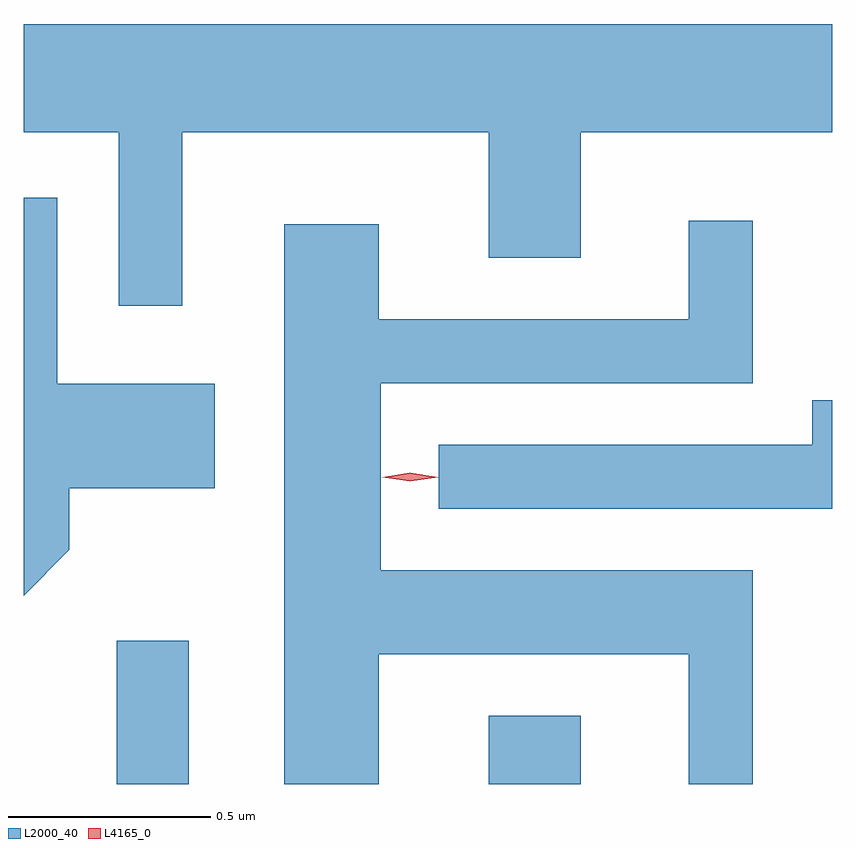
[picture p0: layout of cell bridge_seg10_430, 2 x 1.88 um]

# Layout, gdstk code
import gdstk
lib = gdstk.Library(unit=1e-6, precision=1e-09)
def R(c, l, rs):  # rectangles x0, y0, x1, y1
    for r in rs: c.add(gdstk.rectangle(r[:2], r[2:], *l))
def P(c, l, *ps):  # polygons
    for p in ps: c.add(gdstk.Polygon(p, *l))
L2000_40 = (2000, 40)
L4165_0 = (4165, 0)

bridge_seg10_430 = lib.new_cell('bridge_seg10_430')
R(bridge_seg10_430, L2000_40, [(1363.731,2101.205,1363.909,2101.559), (1364.651,2101.205,1364.879,2101.374)])
P(bridge_seg10_430, L2000_40, [(1363.894,2102.816),(1364.651,2102.816),(1364.651,2102.506),(1364.879,2102.506),(1364.879,2102.816),(1365.501,2102.816),(1365.501,2103.084),(1363.501,2103.084),(1363.501,2102.816),(1363.736,2102.816),(1363.736,2102.388),(1363.894,2102.388)],
  [(1363.614,2101.784),(1363.614,2101.936),(1363.974,2101.936),(1363.974,2102.194),(1363.584,2102.194),(1363.584,2102.654),(1363.501,2102.654),(1363.501,2101.671)],
  [(1364.379,2101.526),(1365.146,2101.526),(1365.146,2101.205),(1365.304,2101.205),(1365.304,2101.734),(1364.384,2101.734),(1364.384,2102.196),(1365.304,2102.196),(1365.304,2102.598),(1365.146,2102.598),(1365.146,2102.354),(1364.379,2102.354),(1364.379,2102.589),(1364.146,2102.589),(1364.146,2101.205),(1364.379,2101.205)],
  [(1365.501,2102.154),(1365.451,2102.154),(1365.451,2102.044),(1364.528,2102.044),(1364.528,2101.886),(1365.501,2101.886)])
P(bridge_seg10_430, L4165_0, [(1364.457,2101.954),(1364.388,2101.963),(1364.387,2101.964),(1364.388,2101.964),(1364.457,2101.974),(1364.526,2101.964),(1364.526,2101.964),(1364.526,2101.963)],
  [(1364.456,2101.954),(1364.39,2101.963),(1364.39,2101.964),(1364.39,2101.964),(1364.456,2101.974),(1364.522,2101.964),(1364.523,2101.964),(1364.522,2101.963)])

lib.write_gds('bridge_seg10_430.gds')
